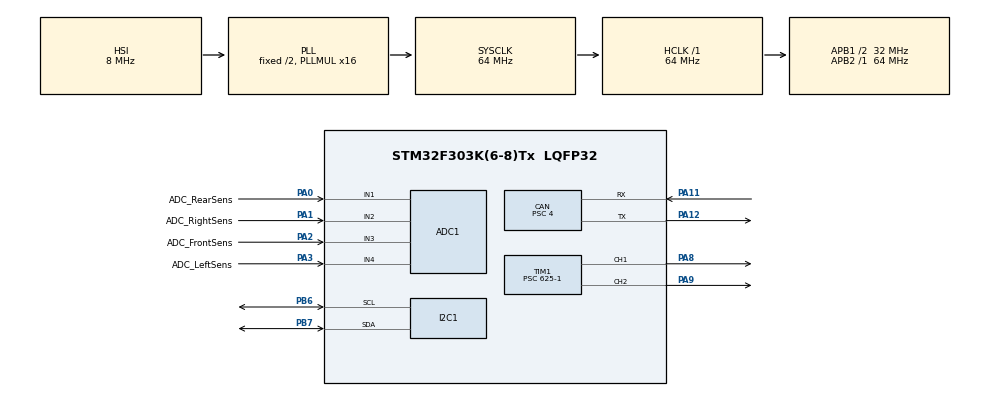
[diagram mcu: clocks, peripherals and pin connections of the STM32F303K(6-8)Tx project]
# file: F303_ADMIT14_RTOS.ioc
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ADC1.Channel-1\#ChannelRegularConversion=ADC_CHANNEL_3
ADC1.Channel-2\#ChannelRegularConversion=ADC_CHANNEL_1
ADC1.Channel-3\#ChannelRegularConversion=ADC_CHANNEL_4
ADC1.Channel-4\#ChannelRegularConversion=ADC_CHANNEL_2
ADC1.ContinuousConvMode=DISABLE
ADC1.DMAContinuousRequests=ENABLE
ADC1.EOCSelection=ADC_EOC_SEQ_CONV
ADC1.NbrOfConversion=4
ADC1.NbrOfConversionFlag=1
ADC1.Offset-1\#ChannelRegularConversion=0
ADC1.Offset-2\#ChannelRegularConversion=0
ADC1.Offset-3\#ChannelRegularConversion=0
ADC1.Offset-4\#ChannelRegularConversion=0
ADC1.OffsetNumber-1\#ChannelRegularConversion=ADC_OFFSET_NONE
ADC1.OffsetNumber-2\#ChannelRegularConversion=ADC_OFFSET_NONE
ADC1.OffsetNumber-3\#ChannelRegularConversion=ADC_OFFSET_NONE
ADC1.OffsetNumber-4\#ChannelRegularConversion=ADC_OFFSET_NONE
ADC1.Rank-1\#ChannelRegularConversion=1
ADC1.Rank-2\#ChannelRegularConversion=2
ADC1.Rank-3\#ChannelRegularConversion=3
ADC1.Rank-4\#ChannelRegularConversion=4
ADC1.SamplingTime-1\#ChannelRegularConversion=ADC_SAMPLETIME_181CYCLES_5
ADC1.SamplingTime-2\#ChannelRegularConversion=ADC_SAMPLETIME_181CYCLES_5
ADC1.SamplingTime-3\#ChannelRegularConversion=ADC_SAMPLETIME_181CYCLES_5
ADC1.SamplingTime-4\#ChannelRegularConversion=ADC_SAMPLETIME_181CYCLES_5
ADC1.SubFamily=STM32F303x8
ADC1.master=1
CAN.BS1=CAN_BS1_11TQ
CAN.BS2=CAN_BS2_4TQ
CAN.CalculateBaudRate=500000
CAN.CalculateTimeBit=2000
CAN.CalculateTimeQuantum=125.0
CAN.Prescaler=4
Dma.ADC1.0.Direction=DMA_PERIPH_TO_MEMORY
Dma.ADC1.0.Instance=DMA1_Channel1
Dma.ADC1.0.MemDataAlignment=DMA_MDATAALIGN_HALFWORD
Dma.ADC1.0.MemInc=DMA_MINC_ENABLE
Dma.ADC1.0.Mode=DMA_CIRCULAR
Dma.ADC1.0.PeriphDataAlignment=DMA_PDATAALIGN_HALFWORD
Dma.ADC1.0.PeriphInc=DMA_PINC_DISABLE
Dma.ADC1.0.Priority=DMA_PRIORITY_LOW
Dma.Request0=ADC1
FREERTOS.Tasks01=defaultTask,0,128,StartDefaultTask,Default,NULL,Dynamic,NULL,NULL;PWMControl,0,128,StartPWMTask,Default,NULL,Dynamic,NULL,NULL;DistSensProcess,-3,128,StartDistSensTask,Default,NULL,Dynamic,NULL,NULL;IMUProcess,-3,128,StartIMUTask,Default,NULL,Dynamic,NULL,NULL
I2C1.Timing=0x00201D2B
Mcu.Family=STM32F3
Mcu.Name=STM32F303K(6-8)Tx
Mcu.Package=LQFP32
NVIC.CAN_RX0_IRQn=true\:5\:0\:false\:false\:true\:true\:true\:true\:true
NVIC.DMA1_Channel1_IRQn=true\:5\:0\:false\:false\:true\:true\:false\:true\:true
NVIC.PriorityGroup=NVIC_PRIORITYGROUP_4
NVIC.TIM2_IRQn=true\:15\:0\:false\:false\:true\:false\:false\:true\:true
NVIC.TimeBase=TIM2_IRQn
NVIC.TimeBaseIP=TIM2
PA0.GPIO_Label=ADC_RearSens
PA0.Mode=IN1-Single-Ended
PA0.Signal=ADC1_IN1
PA1.GPIO_Label=ADC_RightSens
PA1.Mode=IN2-Single-Ended
PA1.Signal=ADC1_IN2
PA11.GPIO_Mode=GPIO_MODE_AF_PP
PA11.GPIO_PuPd=GPIO_PULLUP
PA11.Mode=CAN_Activate
PA11.Signal=CAN_RX
PA12.Mode=CAN_Activate
PA12.Signal=CAN_TX
PA13.GPIO_Label=SWDIO
PA13.Mode=Serial_Wire
PA13.Signal=SYS_JTMS-SWDIO
PA14.GPIO_Label=SWCLK
PA14.Mode=Serial_Wire
PA14.Signal=SYS_JTCK-SWCLK
PA2.GPIO_Label=ADC_FrontSens
PA2.Mode=IN3-Single-Ended
PA2.Signal=ADC1_IN3
PA3.GPIO_Label=ADC_LeftSens
PA3.Mode=IN4-Single-Ended
PA3.Signal=ADC1_IN4
PA8.Signal=S_TIM1_CH1
PA9.Signal=S_TIM1_CH2
PB6.Mode=I2C
PB6.Signal=I2C1_SCL
PB7.Mode=I2C
PB7.Signal=I2C1_SDA
PF0\ /\ OSC_IN.GPIO_Label=MCO
PF0\ /\ OSC_IN.Mode=HSE-External-Clock-Source
PF0\ /\ OSC_IN.Signal=RCC_OSC_IN
ProjectManager.HeapSize=0x200
ProjectManager.StackSize=0x400
ProjectManager.TargetToolchain=STM32CubeIDE
RCC.AHBFreq_Value=64000000
RCC.APB1CLKDivider=RCC_HCLK_DIV2
RCC.APB1Freq_Value=32000000
RCC.APB1TimFreq_Value=64000000
RCC.APB2Freq_Value=64000000
RCC.APB2TimFreq_Value=64000000
RCC.CortexFreq_Value=64000000
RCC.HCLKFreq_Value=64000000
RCC.HSE_VALUE=8000000
RCC.HSI_VALUE=8000000
RCC.PLLMUL=RCC_PLL_MUL16
RCC.SYSCLKFreq_VALUE=64000000
RCC.SYSCLKSourceVirtual=RCC_SYSCLKSOURCE_PLLCLK
SH.S_TIM1_CH1.0=TIM1_CH1,PWM Generation1 CH1
SH.S_TIM1_CH2.0=TIM1_CH2,PWM Generation2 CH2
TIM1.Channel-PWM\ Generation1\ CH1=TIM_CHANNEL_1
TIM1.Channel-PWM\ Generation2\ CH2=TIM_CHANNEL_2
TIM1.Period=2048-1
TIM1.Prescaler=625-1
VP_FREERTOS_VS_CMSIS_V1.Mode=CMSIS_V1
VP_SYS_VS_tim2.Mode=TIM2
VP_TIM1_VS_ClockSourceINT.Mode=Internal
board=NUCLEO-F303K8

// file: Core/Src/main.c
/* USER CODE BEGIN Header */
/**
  ******************************************************************************
  * @file           : main.c
  * @brief          : Main program body
  ******************************************************************************
  * @attention
  *
  * Copyright (c) 2025 STMicroelectronics.
  * All rights reserved.
  *
  * This software is licensed under terms that can be found in the LICENSE file
  * in the root directory of this software component.
  * If no LICENSE file comes with this software, it is provided AS-IS.
  *
  ******************************************************************************
  */
/* USER CODE END Header */
#include "main.h"
#include "cmsis_os.h"
#include "adc.h"
#include "can.h"
#include "dma.h"
#include "i2c.h"
#include "tim.h"
#include "gpio.h"

/* USER CODE BEGIN Includes */
#include<math.h> //for Pow Function
#include "lsm9ds1.h" //IMU Library
/* USER CODE END Includes */

/* USER CODE BEGIN PV */
uint16_t ADC_input[4]; //storing 4 adc values for sensors
uint8_t Dist[4];      //storing 4 distance of sensors, order: Front, rear, left, right - PIN 1,2,4,12

float Coeff[6]={-5.736e-15, 6.946e-11, -3.316e-07, 0.0007958, -1.012, 644.3};

//For IMU
float ax, ay, az		//Accel
	 ,gx, gy, gz		//Gyro
	 ,mx, my, mz;		//Magnetometer

uint8_t Accel[3], Gyro[3], Magne[3];	//Array to send to CAN message, must be uint8

//For CAN Bus
CAN_RxHeaderTypeDef RxHeader;				//Currently only receive 1 message ID 101

CAN_TxHeaderTypeDef TxHeader_Sensor;		//Header for DistSens Message
CAN_TxHeaderTypeDef TxHeader_IMU_Accel; 	//Header for IMU_Accel Message
CAN_TxHeaderTypeDef TxHeader_IMU_Gyro;		//Header for IMU_Gyro Message
CAN_TxHeaderTypeDef TxHeader_IMU_Mag;		//Header for IMU_Mag Message

uint8_t RxData[8];  //For receiving CAN Message
uint8_t ThrottleVal, SteeringVal;

uint32_t TxMailbox;		//Mailbox for transmission

volatile uint8_t prev_var=0, receiveFlag=0; //Checking CAN Msg receive
uint32_t last_check_time = 0;
//uint8_t changed_or_not;

//void HAL_CAN_RxFifo0MsgPendingCallback(CAN_HandleTypeDef *hcan){					//Get CAN Msg
//
//	HAL_CAN_GetRxMessage(hcan, CAN_RX_FIFO0, &RxHeader, RxData);
//	receiveFlag++; if(receiveFlag==254) receiveFlag=0;
//}

/* USER CODE END PV */

void SystemClock_Config(void);
void MX_FREERTOS_Init(void);
/* USER CODE BEGIN PFP */
//uint16_t CalcDist(uint16_t ADC12In);  	//Calculate ADC12 to Dist in mm
//uint8_t ConvertToPWM_Signal(uint8_t OutVal, uint8_t in_min, uint8_t in_max, uint8_t out_min, uint8_t out_max);
//CAN Header Init Functions
void TxHeaderInit_Sensor();
void TxHeaderInit_IMU_Accel();
void TxHeaderInit_IMU_Gyro();
void TxHeaderInit_IMU_Mag();

/* USER CODE END PFP */

int main(void)
{

  /* MCU Configuration--------------------------------------------------------*/

  /* Reset of all peripherals, Initializes the Flash interface and the Systick. */
  HAL_Init();

  /* Configure the system clock */
  SystemClock_Config();

  /* Initialize all configured peripherals */
  MX_GPIO_Init();
  MX_DMA_Init();
  MX_ADC1_Init();
  MX_CAN_Init();
  MX_TIM1_Init();
  MX_I2C1_Init();
  /* USER CODE BEGIN 2 */
  HAL_TIM_PWM_Start(&htim1, TIM_CHANNEL_1);			//Start PWM generation for 1st channel
  HAL_TIM_PWM_Start(&htim1, TIM_CHANNEL_2);			//Start PWM generation for 2nd channel

  //I2C LSM9DS1 code init
  begin(0x6B, 0x1E, &hi2c1);	//Init I2C connection to IMU, 0x6B for Accel, Gyro; 0x1E for Magnetometer
  setMagScale(4);					//	4 8 12 16 gauss
  setAccelScale(4);					//	2 4 8 16 g
  setGyroScale(245);				//  245 500 2000 deg/sec

  //Init CAN Headers

  HAL_CAN_Start(&hcan);

  HAL_CAN_ActivateNotification(&hcan, CAN_IT_RX_FIFO0_MSG_PENDING);

  TxHeaderInit_Sensor();
  TxHeaderInit_IMU_Accel();
  TxHeaderInit_IMU_Gyro();
  TxHeaderInit_IMU_Mag();

  /* USER CODE END 2 */

  /* Call init function for freertos objects (in cmsis_os2.c) */
  MX_FREERTOS_Init();

  /* Start scheduler */
  osKernelStart();

  /* We should never get here as control is now taken by the scheduler */

  /* Infinite loop */
  /* USER CODE BEGIN WHILE */
  while (1)
  {
//	  //Receive CAN MSG 101, get Throttle and Steering value, translate into PWM signal
//
//
//
//	    if (HAL_GetTick() - last_check_time >= 700) {  //check after how many ms
//	        if (prev_var == receiveFlag) {
//	            // Variable has not changed for 700ms
//	            // Take desired action here
//	        	//Reset RxData buffer
//	        	RxData[0]=100;				//Set to Neutral value for Throttle
//	        	RxData[1]=100;				//Set to Neutral value for Steering Servo
//
//	        } else {
//	            // Variable changed, reset check
//	        	//Do nothing, passed check
//	            prev_var = receiveFlag;
//	        }
//	        last_check_time = HAL_GetTick();  // Reset timer
//	    }
//
//	    //Convert received Throttle value and Steering value into PWM to control
//
//	    ThrottleVal=ConvertToPWM_Signal(RxData[0], 0, 200, 103, 204);		//Only for debug, see what are the values
//		SteeringVal=ConvertToPWM_Signal(RxData[1], 0, 200, 103, 223);  		//Customizable range, 223 so car can turn right the same amount as turning left
//
//	  TIM1->CCR1=ConvertToPWM_Signal(RxData[0], 0, 200, 103, 204);		//Assign 1st PWM signal, for Throttle
//	  TIM1->CCR2=ConvertToPWM_Signal(RxData[1], 0, 200, 103, 223);		//Assign 2nd PWM signal, for Steering
	// TIM1->CCR1=ThrottleVal;  	//in PWM value, divide by 2048 for Duty cycle percentage
	//TIM1->CCR2=SteeringVal;

	 /////////////////////////////////////////////////////////////////////////////

	  // Calc Dist, send to CAN MSG 102
//	 for(int i=0; i<4;i++){
//		 Dist[i]=CalcDist(ADC_input[i]);
//	 }
//
//	 /////////////////////////////////////////////////////////////////////////////
//
//	  if(HAL_CAN_AddTxMessage(&hcan, &TxHeader_Sensor, Dist, &TxMailbox)!= HAL_OK){
//		  Error_Handler();																//Transmit CAN Message, if not succeed then error handle
//	  }

	  /////////////////////////////////////////////////////////////////////////////
	  //Get data from IMU

	  //Get Accel Info from IMU, send to CAN MSG 103
//	  readAccel(&ax, &ay, &az);
//	  Accel[0]=(ax+4)*30;	Accel[1]=(ay+4)*30;	Accel[2]=(az+4)*30;
//
//
//
//	  //Get Gyro Info from IMU, send to CAN MSG 104
//	  readGyro(&gx, &gy, &gz);
//	  Gyro[0]=(gx+245)*0.5 ;	Gyro[1]=(gy+245)*0.5 ;		Gyro[2]=(gz+245)*0.5 ;
//
//
//	  /////////////////////////////////////////////////////////////////////////////
//	  //Add CAN Messages
//
//	  if(HAL_CAN_AddTxMessage(&hcan, &TxHeader_IMU_Accel, Accel, &TxMailbox)!= HAL_OK){
//			  Error_Handler();																//Transmit CAN Message, if not succeed then error handle
//		  }
//
//	  if(HAL_CAN_AddTxMessage(&hcan, &TxHeader_IMU_Gyro, Gyro, &TxMailbox)!= HAL_OK){
//		  Error_Handler();																//Transmit CAN Message, if not succeed then error handle
//	  }

	  // readMag(&mx, &my, &mz);
	  //  Magne[0]=mx*100 ;	Magne[1]=my*100 ;			Magne[2]=mz*100 ;

	 // HAL_Delay(100);

    /* USER CODE END WHILE */

  }
}

void SystemClock_Config(void)
{
  RCC_OscInitTypeDef RCC_OscInitStruct = {0};
  RCC_ClkInitTypeDef RCC_ClkInitStruct = {0};
  RCC_PeriphCLKInitTypeDef PeriphClkInit = {0};

  /** Initializes the RCC Oscillators according to the specified parameters
  * in the RCC_OscInitTypeDef structure.
  */
  RCC_OscInitStruct.OscillatorType = RCC_OSCILLATORTYPE_HSI;
  RCC_OscInitStruct.HSIState = RCC_HSI_ON;
  RCC_OscInitStruct.HSICalibrationValue = RCC_HSICALIBRATION_DEFAULT;
  RCC_OscInitStruct.PLL.PLLState = RCC_PLL_ON;
  RCC_OscInitStruct.PLL.PLLSource = RCC_PLLSOURCE_HSI;
  RCC_OscInitStruct.PLL.PLLMUL = RCC_PLL_MUL16;
  if (HAL_RCC_OscConfig(&RCC_OscInitStruct) != HAL_OK)
  {
    Error_Handler();
  }

  /** Initializes the CPU, AHB and APB buses clocks
  */
  RCC_ClkInitStruct.ClockType = RCC_CLOCKTYPE_HCLK|RCC_CLOCKTYPE_SYSCLK
                              |RCC_CLOCKTYPE_PCLK1|RCC_CLOCKTYPE_PCLK2;
  RCC_ClkInitStruct.SYSCLKSource = RCC_SYSCLKSOURCE_PLLCLK;
  RCC_ClkInitStruct.AHBCLKDivider = RCC_SYSCLK_DIV1;
  RCC_ClkInitStruct.APB1CLKDivider = RCC_HCLK_DIV2;
  RCC_ClkInitStruct.APB2CLKDivider = RCC_HCLK_DIV1;

  if (HAL_RCC_ClockConfig(&RCC_ClkInitStruct, FLASH_LATENCY_2) != HAL_OK)
  {
    Error_Handler();
  }
  PeriphClkInit.PeriphClockSelection = RCC_PERIPHCLK_I2C1|RCC_PERIPHCLK_TIM1
                              |RCC_PERIPHCLK_ADC12;
  PeriphClkInit.Adc12ClockSelection = RCC_ADC12PLLCLK_DIV1;
  PeriphClkInit.I2c1ClockSelection = RCC_I2C1CLKSOURCE_HSI;
  PeriphClkInit.Tim1ClockSelection = RCC_TIM1CLK_HCLK;
  if (HAL_RCCEx_PeriphCLKConfig(&PeriphClkInit) != HAL_OK)
  {
    Error_Handler();
  }
}

/* USER CODE BEGIN 4 */
uint16_t CalcDist(uint16_t ADC12In){
	uint16_t TempResult;
	TempResult=Coeff[0]*pow(ADC12In,5)+Coeff[1]*pow(ADC12In,4)+Coeff[2]*pow(ADC12In,3)+Coeff[3]*pow(ADC12In,2)+Coeff[4]*pow(ADC12In,1)+Coeff[5];

	if(TempResult>=40&&TempResult<=290){
		return TempResult-35;			//to fit into uint8 range
	}
	else {
		if(TempResult<40) return TempResult;   //0 àter debug
			else return TempResult;				//1
		}
}

uint8_t ConvertToPWM_Signal(uint8_t OutVal, uint8_t in_min, uint8_t in_max, uint8_t out_min, uint8_t out_max){
	return (OutVal - in_min) * (out_max - out_min) / (in_max - in_min) + out_min;
}

void TxHeaderInit_Sensor(){
	TxHeader_Sensor.StdId=102;
	TxHeader_Sensor.ExtId=0;
	TxHeader_Sensor.IDE=CAN_ID_STD;
	TxHeader_Sensor.RTR=CAN_RTR_DATA;
	TxHeader_Sensor.DLC=4;
	TxHeader_Sensor.TransmitGlobalTime=DISABLE;
}

void TxHeaderInit_IMU_Accel(){
	TxHeader_IMU_Accel.StdId=103;
	TxHeader_IMU_Accel.ExtId=0;
	TxHeader_IMU_Accel.IDE=CAN_ID_STD;
	TxHeader_IMU_Accel.RTR=CAN_RTR_DATA;
	TxHeader_IMU_Accel.DLC=3;
	TxHeader_IMU_Accel.TransmitGlobalTime=DISABLE;
}

void TxHeaderInit_IMU_Gyro(){
	TxHeader_IMU_Gyro.StdId=104;
	TxHeader_IMU_Gyro.ExtId=0;
	TxHeader_IMU_Gyro.IDE=CAN_ID_STD;
	TxHeader_IMU_Gyro.RTR=CAN_RTR_DATA;
	TxHeader_IMU_Gyro.DLC=3;
	TxHeader_IMU_Gyro.TransmitGlobalTime=DISABLE;
}

void TxHeaderInit_IMU_Mag(){
	TxHeader_IMU_Mag.StdId=105;
	TxHeader_IMU_Mag.ExtId=0;
	TxHeader_IMU_Mag.IDE=CAN_ID_STD;
	TxHeader_IMU_Mag.RTR=CAN_RTR_DATA;
	TxHeader_IMU_Mag.DLC=3;
	TxHeader_IMU_Mag.TransmitGlobalTime=DISABLE;
}

/* USER CODE END 4 */

void HAL_TIM_PeriodElapsedCallback(TIM_HandleTypeDef *htim)
{
  if (htim->Instance == TIM2)
  {
    HAL_IncTick();
  }
}

void Error_Handler(void)
{
  __disable_irq();
  while (1)
  {
  }
}

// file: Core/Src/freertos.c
/* USER CODE BEGIN Header */
/**
  ******************************************************************************
  * File Name          : freertos.c
  * Description        : Code for freertos applications
  ******************************************************************************
  * @attention
  *
  * Copyright (c) 2025 STMicroelectronics.
  * All rights reserved.
  *
  * This software is licensed under terms that can be found in the LICENSE file
  * in the root directory of this software component.
  * If no LICENSE file comes with this software, it is provided AS-IS.
  *
  ******************************************************************************
  */
/* USER CODE END Header */

#include "FreeRTOS.h"
#include "task.h"
#include "main.h"
#include "cmsis_os.h"

/* USER CODE BEGIN Includes */
#include "adc.h"
#include "can.h"
#include "dma.h"
#include "i2c.h"
#include "tim.h"
#include "gpio.h"

#include<math.h> //for Pow Function
#include "lsm9ds1.h" //IMU Library
#include "medianfilter.h"
/* USER CODE END Includes */

/* USER CODE BEGIN Variables */

//int16_t ADC_input[4]; //storing 4 adc values for sensors
//uint8_t Dist[4];      //storing 4 distance of sensors, order: Front, rear, left, right - PIN 1,2,4,12
//
//float Coeff[]={-5.736e-15, 6.946e-11, -3.316e-07, 0.0007958, -1.012, 644.3};
//
//float ax, ay, az		//Accel
//	 ,gx, gy, gz;		//Gyro
//	 //,mx, my, mz;		//Magnetometer
//
////For CAN Bus
//CAN_RxHeaderTypeDef RxHeader;				//Currently only receive 1 message ID 101
//
//CAN_TxHeaderTypeDef TxHeader_Sensor;		//Header for DistSens Message
//CAN_TxHeaderTypeDef TxHeader_IMU_Accel; 	//Header for IMU_Accel Message
//CAN_TxHeaderTypeDef TxHeader_IMU_Gyro;		//Header for IMU_Gyro Message
//CAN_TxHeaderTypeDef TxHeader_IMU_Mag;		//Header for IMU_Mag Message
//
//uint8_t RxData[8];  //For receiving CAN Message
//uint8_t ThrottleVal, SteeringVal;
//
//uint32_t TxMailbox;		//Mailbox for transmission
//
//volatile uint8_t receiveFlag=0, prev_var=0; //Checking CAN Msg receive
//uint32_t last_check_time = 0;
////uint8_t changed_or_not;

//For Median filter
uint16_t ADC_Value_Front_Filtered = 0;
uint16_t ADC_Value_Rear_Filtered = 0;
uint16_t ADC_Value_Left_Filtered = 0;
uint16_t ADC_Value_Right_Filtered = 0;

FilterTypeDef FilterStruct_Front;
FilterTypeDef FilterStruct_Rear;
FilterTypeDef FilterStruct_Left;
FilterTypeDef FilterStruct_Right;

/* USER CODE END Variables */
osThreadId defaultTaskHandle;
osThreadId PWMControlHandle;
osThreadId DistSensProcessHandle;
osThreadId IMUProcessHandle;

/* USER CODE BEGIN FunctionPrototypes */
//void HAL_CAN_RxFifo0MsgPendingCallback(CAN_HandleTypeDef *hcan){					//Get CAN Msg
//
//	HAL_CAN_GetRxMessage(hcan, CAN_RX_FIFO0, &RxHeader, RxData);
//	receiveFlag++; if(receiveFlag==254) receiveFlag=0;
//}

void HAL_CAN_RxFifo0MsgPendingCallback(CAN_HandleTypeDef *hcan);					//Get CAN Msg
void HAL_ADC_ConvCpltCallback(ADC_HandleTypeDef* hadc);
/* USER CODE END FunctionPrototypes */

void StartDefaultTask(void const * argument);
void StartPWMTask(void const * argument);
void StartDistSensTask(void const * argument);
void StartIMUTask(void const * argument);

void MX_FREERTOS_Init(void); /* (MISRA C 2004 rule 8.1) */

/* GetIdleTaskMemory prototype (linked to static allocation support) */
void vApplicationGetIdleTaskMemory( StaticTask_t **ppxIdleTaskTCBBuffer, StackType_t **ppxIdleTaskStackBuffer, uint32_t *pulIdleTaskStackSize );

/* USER CODE BEGIN GET_IDLE_TASK_MEMORY */
static StaticTask_t xIdleTaskTCBBuffer;
static StackType_t xIdleStack[configMINIMAL_STACK_SIZE];

void vApplicationGetIdleTaskMemory( StaticTask_t **ppxIdleTaskTCBBuffer, StackType_t **ppxIdleTaskStackBuffer, uint32_t *pulIdleTaskStackSize )
{
  *ppxIdleTaskTCBBuffer = &xIdleTaskTCBBuffer;
  *ppxIdleTaskStackBuffer = &xIdleStack[0];
  *pulIdleTaskStackSize = configMINIMAL_STACK_SIZE;
  /* place for user code */
}
/* USER CODE END GET_IDLE_TASK_MEMORY */

void MX_FREERTOS_Init(void) {

  /* Create the thread(s) */
  /* definition and creation of defaultTask */
  osThreadDef(defaultTask, StartDefaultTask, osPriorityNormal, 0, 128);
  defaultTaskHandle = osThreadCreate(osThread(defaultTask), NULL);

  /* definition and creation of PWMControl */
  osThreadDef(PWMControl, StartPWMTask, osPriorityNormal, 0, 128);
  PWMControlHandle = osThreadCreate(osThread(PWMControl), NULL);

  /* definition and creation of DistSensProcess */
  osThreadDef(DistSensProcess, StartDistSensTask, osPriorityIdle, 0, 128);
  DistSensProcessHandle = osThreadCreate(osThread(DistSensProcess), NULL);

  /* definition and creation of IMUProcess */
  osThreadDef(IMUProcess, StartIMUTask, osPriorityIdle, 0, 128);
  IMUProcessHandle = osThreadCreate(osThread(IMUProcess), NULL);

}

void StartDefaultTask(void const * argument)
{
  /* USER CODE BEGIN StartDefaultTask */
  /* Infinite loop */
  for(;;)
  {

	  if (HAL_GetTick() - last_check_time >= 700) {  //check after how many ms
		        if (prev_var == receiveFlag) {
		            // Variable has not changed for 700ms
		            // Take desired action here
		        	//Reset RxData buffer
		        	RxData[0]=100;				//Set to Neutral value for Throttle
		        	RxData[1]=100;				//Set to Neutral value for Steering Servo

		        } else {
		            // Variable changed, reset check
		        	//Do nothing, passed check
		            prev_var = receiveFlag;
		        }
		        last_check_time = HAL_GetTick();  // Reset timer
		    }

    osDelay(1);
  }
  /* USER CODE END StartDefaultTask */
}

void StartPWMTask(void const * argument)
{
  /* USER CODE BEGIN StartPWMTask */
  /* Infinite loop */
  for(;;)
  {
	  TIM1->CCR1=ConvertToPWM_Signal(RxData[0], 0, 200, 103, 204);		//Assign 1st PWM signal, for Throttle
	  TIM1->CCR2=ConvertToPWM_Signal(RxData[1], 0, 200, 103, 223);		//Assign 2nd PWM signal, for Steering
    osDelay(1);
  }
  /* USER CODE END StartPWMTask */
}

void StartDistSensTask(void const * argument)
{
  /* USER CODE BEGIN StartDistSensTask */
  /* Infinite loop */
  for(;;)
  {
	  //Calc Dist, send to CAN MSG 102
	HAL_ADC_Start_DMA(&hadc1, &ADC_input, 4);   //Start sampling at the beginning of task, auto stop after complete sampling of 4 channels

	Dist[0]=CalcDist(ADC_Value_Front_Filtered);
	Dist[1]=CalcDist(ADC_Value_Rear_Filtered);
	Dist[2]=CalcDist(ADC_Value_Left_Filtered);
	Dist[3]=CalcDist(ADC_Value_Right_Filtered);

	  if(HAL_CAN_AddTxMessage(&hcan, &TxHeader_Sensor, Dist, &TxMailbox)!= HAL_OK){
		  Error_Handler();																//Transmit CAN Message, if not succeed then error handle
	  }				//Transmit CAN Message, if not succeed, the nerror handle
    osDelay(1);
  }
  /* USER CODE END StartDistSensTask */
}

void StartIMUTask(void const * argument)
{
  /* USER CODE BEGIN StartIMUTask */
  /* Infinite loop */
  for(;;)
  {
	readAccel(&ax, &ay, &az);
	Accel[0]=(ax+4)*30;	Accel[1]=(ay+4)*30;	Accel[2]=(az+4)*30;

	if(HAL_CAN_AddTxMessage(&hcan, &TxHeader_IMU_Accel, Accel, &TxMailbox)!= HAL_OK){
			  Error_Handler();																//Transmit CAN Message, if not succeed then error handle
	}

    osDelay(1);

	readGyro(&gx, &gy, &gz);
	Gyro[0]=(gx+245)*0.5 ;	Gyro[1]=(gy+245)*0.5 ;		Gyro[2]=(gz+245)*0.5 ;

	if(HAL_CAN_AddTxMessage(&hcan, &TxHeader_IMU_Gyro, Gyro, &TxMailbox)!= HAL_OK){
		  Error_Handler();																//Transmit CAN Message, if not succeed then error handle
	}
	osDelay(1);

////// REMOVE THIS PART IF BUG HAPPEN
	readMag(&mx, &my, &mz);
	Magne[0]=(mx+128)*100; Magne[1]=(my+128)*100; Magne[2]=(mz+128)*100;

	if(HAL_CAN_AddTxMessage(&hcan, &TxHeader_IMU_Mag, Magne, &TxMailbox)!= HAL_OK){
			  Error_Handler();																//Transmit CAN Message, if not succeed then error handle
		}

	osDelay(1);
  }

  /* USER CODE END StartIMUTask */
}

/* USER CODE BEGIN Application */
void HAL_CAN_RxFifo0MsgPendingCallback(CAN_HandleTypeDef *hcan){					//Get CAN Msg

	HAL_CAN_GetRxMessage(hcan, CAN_RX_FIFO0, &RxHeader, RxData);
	receiveFlag++; if(receiveFlag==254) receiveFlag=0;
}

void HAL_ADC_ConvCpltCallback(ADC_HandleTypeDef* hadc){
		ADC_Value_Front_Filtered = Moving_Average_Compute(ADC_input[0], &FilterStruct_Front);
		ADC_Value_Rear_Filtered  = Moving_Average_Compute(ADC_input[1], &FilterStruct_Rear);
		ADC_Value_Left_Filtered  = Moving_Average_Compute(ADC_input[2], &FilterStruct_Left);
		ADC_Value_Right_Filtered = Moving_Average_Compute(ADC_input[3], &FilterStruct_Right);
}

/* USER CODE END Application */
